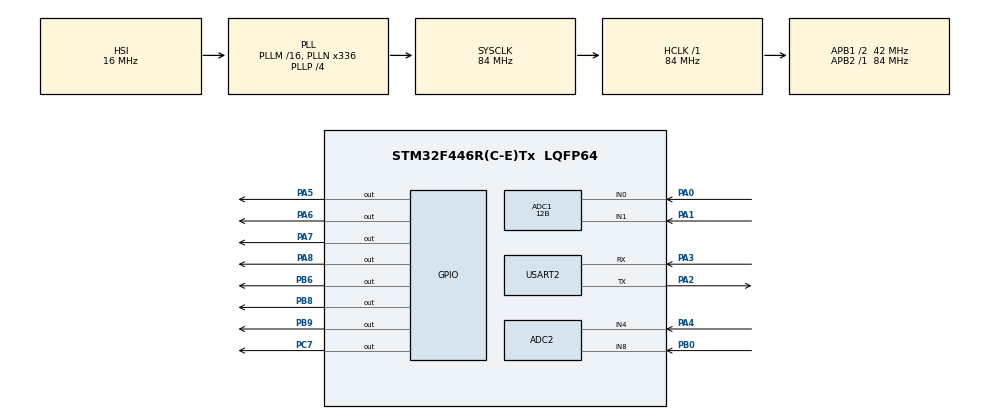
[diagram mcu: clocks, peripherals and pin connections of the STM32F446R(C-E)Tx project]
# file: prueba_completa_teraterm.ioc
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ADC1.Channel-0\#ChannelRegularConversion=ADC_CHANNEL_0
ADC1.Channel-2\#ChannelRegularConversion=ADC_CHANNEL_1
ADC1.ClockPrescaler=ADC_CLOCK_SYNC_PCLK_DIV4
ADC1.ContinuousConvMode=ENABLE
ADC1.DMAContinuousRequests=DISABLE
ADC1.DataAlign=ADC_DATAALIGN_RIGHT
ADC1.DiscontinuousConvMode=DISABLE
ADC1.EOCSelection=ADC_EOC_SINGLE_CONV
ADC1.EnableAnalogWatchDog=false
ADC1.ExternalTrigConv=ADC_SOFTWARE_START
ADC1.ExternalTrigConvEdge=ADC_EXTERNALTRIGCONVEDGE_NONE
ADC1.InjNumberOfConversion=0
ADC1.NbrOfConversion=2
ADC1.NbrOfConversionFlag=1
ADC1.Rank-0\#ChannelRegularConversion=1
ADC1.Rank-2\#ChannelRegularConversion=2
ADC1.Resolution=ADC_RESOLUTION_12B
ADC1.SamplingTime-0\#ChannelRegularConversion=ADC_SAMPLETIME_84CYCLES
ADC1.SamplingTime-2\#ChannelRegularConversion=ADC_SAMPLETIME_84CYCLES
ADC1.ScanConvMode=ENABLE
ADC1.master=1
ADC2.Channel-0\#ChannelRegularConversion=ADC_CHANNEL_4
ADC2.Channel-1\#ChannelRegularConversion=ADC_CHANNEL_8
ADC2.ContinuousConvMode=ENABLE
ADC2.NbrOfConversion=2
ADC2.NbrOfConversionFlag=1
ADC2.Rank-0\#ChannelRegularConversion=1
ADC2.Rank-1\#ChannelRegularConversion=2
ADC2.SamplingTime-0\#ChannelRegularConversion=ADC_SAMPLETIME_84CYCLES
ADC2.SamplingTime-1\#ChannelRegularConversion=ADC_SAMPLETIME_84CYCLES
Mcu.Family=STM32F4
Mcu.Name=STM32F446R(C-E)Tx
Mcu.Package=LQFP64
NVIC.PriorityGroup=NVIC_PRIORITYGROUP_0
NVIC.TIM2_IRQn=true\:0\:0\:false\:false\:true\:true
PA0-WKUP.Signal=ADCx_IN0
PA1.Signal=ADCx_IN1
PA13.GPIO_Label=TMS
PA13.Mode=Serial_Wire
PA13.Signal=SYS_JTMS-SWDIO
PA14.GPIO_Label=TCK
PA14.Mode=Serial_Wire
PA14.Signal=SYS_JTCK-SWCLK
PA2.Mode=Asynchronous
PA2.Signal=USART2_TX
PA3.Mode=Asynchronous
PA3.Signal=USART2_RX
PA4.Signal=ADCx_IN4
PA5.Signal=GPIO_Output
PA6.Signal=GPIO_Output
PA7.Signal=GPIO_Output
PA8.Signal=GPIO_Output
PB0.Signal=ADCx_IN8
PB3.GPIO_Label=SWO
PB3.Signal=SYS_JTDO-SWO
PB6.Signal=GPIO_Output
PB8.Signal=GPIO_Output
PB9.Signal=GPIO_Output
PC14-OSC32_IN.Mode=LSE-External-Oscillator
PC14-OSC32_IN.Signal=RCC_OSC32_IN
PC15-OSC32_OUT.Mode=LSE-External-Oscillator
PC15-OSC32_OUT.Signal=RCC_OSC32_OUT
PC7.Signal=GPIO_Output
PH0-OSC_IN.Mode=HSE-External-Oscillator
PH0-OSC_IN.Signal=RCC_OSC_IN
PH1-OSC_OUT.Mode=HSE-External-Oscillator
PH1-OSC_OUT.Signal=RCC_OSC_OUT
ProjectManager.HeapSize=0x200
ProjectManager.StackSize=0x400
ProjectManager.TargetToolchain=TrueSTUDIO
RCC.48MHZClocksFreq_Value=84000000
RCC.AHBFreq_Value=84000000
RCC.APB1CLKDivider=RCC_HCLK_DIV2
RCC.APB1Freq_Value=42000000
RCC.APB1TimFreq_Value=84000000
RCC.APB2Freq_Value=84000000
RCC.APB2TimFreq_Value=84000000
RCC.CortexFreq_Value=84000000
RCC.FLatency-AdvancedSettings=FLASH_LATENCY_2
RCC.HCLKFreq_Value=84000000
RCC.HSE_VALUE=8000000
RCC.HSI_VALUE=16000000
RCC.PLLN=336
RCC.PLLP=RCC_PLLP_DIV4
RCC.SYSCLKFreq_VALUE=84000000
RCC.SYSCLKSource=RCC_SYSCLKSOURCE_PLLCLK
RCC.USBFreq_Value=168000000
RCC.VCOOutputFreq_Value=336000000
SH.ADCx_IN0.0=ADC1_IN0,IN0
SH.ADCx_IN1.0=ADC1_IN1,IN1
SH.ADCx_IN4.0=ADC2_IN4,IN4
SH.ADCx_IN8.0=ADC2_IN8,IN8
USART2.VirtualMode=VM_ASYNC
VP_TIM2_VS_ClockSourceINT.Mode=Internal
board=NUCLEO-F446RE

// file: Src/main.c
/**
  ******************************************************************************
  * @file           : main.c
  * @brief          : Main program body
  ******************************************************************************
  ** This notice applies to any and all portions of this file
  * that are not between comment pairs USER CODE BEGIN and
  * USER CODE END. Other portions of this file, whether
  * inserted by the user or by software development tools
  * are owned by their respective copyright owners.
  *
  * COPYRIGHT(c) 2018 STMicroelectronics
  *
  * Redistribution and use in source and binary forms, with or without modification,
  * are permitted provided that the following conditions are met:
  *   1. Redistributions of source code must retain the above copyright notice,
  *      this list of conditions and the following disclaimer.
  *   2. Redistributions in binary form must reproduce the above copyright notice,
  *      this list of conditions and the following disclaimer in the documentation
  *      and/or other materials provided with the distribution.
  *   3. Neither the name of STMicroelectronics nor the names of its contributors
  *      may be used to endorse or promote products derived from this software
  *      without specific prior written permission.
  *
  * THIS SOFTWARE IS PROVIDED BY THE COPYRIGHT HOLDERS AND CONTRIBUTORS "AS IS"
  * AND ANY EXPRESS OR IMPLIED WARRANTIES, INCLUDING, BUT NOT LIMITED TO, THE
  * IMPLIED WARRANTIES OF MERCHANTABILITY AND FITNESS FOR A PARTICULAR PURPOSE ARE
  * DISCLAIMED. IN NO EVENT SHALL THE COPYRIGHT HOLDER OR CONTRIBUTORS BE LIABLE
  * FOR ANY DIRECT, INDIRECT, INCIDENTAL, SPECIAL, EXEMPLARY, OR CONSEQUENTIAL
  * DAMAGES (INCLUDING, BUT NOT LIMITED TO, PROCUREMENT OF SUBSTITUTE GOODS OR
  * SERVICES; LOSS OF USE, DATA, OR PROFITS; OR BUSINESS INTERRUPTION) HOWEVER
  * CAUSED AND ON ANY THEORY OF LIABILITY, WHETHER IN CONTRACT, STRICT LIABILITY,
  * OR TORT (INCLUDING NEGLIGENCE OR OTHERWISE) ARISING IN ANY WAY OUT OF THE USE
  * OF THIS SOFTWARE, EVEN IF ADVISED OF THE POSSIBILITY OF SUCH DAMAGE.
  *
  ******************************************************************************
  */
#include "main.h"
#include "stm32f4xx_hal.h"

/* USER CODE BEGIN Includes */
#include <stdio.h>
#include <math.h>
/* USER CODE END Includes */

ADC_HandleTypeDef hadc1;
ADC_HandleTypeDef hadc2;

TIM_HandleTypeDef htim2;

UART_HandleTypeDef huart2;

/* USER CODE BEGIN PV */
/* Private variables ---------------------------------------------------------*/
uint16_t adc1_value;
uint16_t adc2_value;
uint8_t toggle_adc1=0;
uint8_t toggle_adc2=0;
float voltage;
char res[6];
/* USER CODE END PV */

void SystemClock_Config(void);
static void MX_GPIO_Init(void);
static void MX_ADC1_Init(void);
static void MX_ADC2_Init(void);
static void MX_TIM2_Init(void);
static void MX_USART2_UART_Init(void);
void ftoa(float n, char *str, int len);

/* USER CODE BEGIN PFP */
/* Private function prototypes -----------------------------------------------*/

/* USER CODE END PFP */

int main(void)
{

  /* MCU Configuration----------------------------------------------------------*/

  /* Reset of all peripherals, Initializes the Flash interface and the Systick. */
  HAL_Init();

  /* Configure the system clock */
  SystemClock_Config();

  /* Initialize all configured peripherals */
  MX_GPIO_Init();
  MX_ADC1_Init();
  MX_ADC2_Init();
  MX_TIM2_Init();
  MX_USART2_UART_Init();

  /* Infinite loop */
  while (1)
  {

  /* USER CODE BEGIN 3 */
	  HAL_ADC_Start(&hadc1);
	  	  HAL_ADC_PollForConversion(&hadc1, 100);
	  	  if(!toggle_adc1)
	  	  {
	  		  toggle_adc1=1;
	  		  adc1_value=HAL_ADC_GetValue(&hadc1);
	  		  voltage=3.3000*adc1_value/4096.0000;
	  		  ftoa(voltage, res, 3);
	  		  printf("A%s\r\n", res);
	  	  }
	  	  else
	  	  {
	  		  toggle_adc1=0;
	  		  adc1_value=HAL_ADC_GetValue(&hadc1);
	  		  voltage=3.3000*adc1_value/4096.0000;
	  		  ftoa(voltage, res, 3);
	  		  printf("B%s\r\n", res);
	  	  }
	  	HAL_ADC_Start(&hadc2);
	  	  HAL_ADC_PollForConversion(&hadc2, 100);
	  	  if(!toggle_adc2)
	  	  	  {
	  	  		  toggle_adc2=1;
	  	  		  adc2_value=HAL_ADC_GetValue(&hadc2);
	  	  		  voltage=3.3000*adc2_value/4096.0000;
	  	  		  ftoa(voltage, res, 3);
	  	  		  printf("C%s\r\n", res);
	  	  	  }
	  	  	  else
	  	  	  {
	  	  		  toggle_adc2=0;
	  	  		  adc2_value=HAL_ADC_GetValue(&hadc2);
	  	  		  voltage=3.3000*adc2_value/4096.0000;
	  	  		  ftoa(voltage, res, 3);
	  	  		  printf("D%s\r\n", res);
	  	  	  }
	    }
  /* USER CODE END 3 */

}

void SystemClock_Config(void)
{

  RCC_OscInitTypeDef RCC_OscInitStruct;
  RCC_ClkInitTypeDef RCC_ClkInitStruct;

    /**Configure the main internal regulator output voltage
    */
  __HAL_RCC_PWR_CLK_ENABLE();

  __HAL_PWR_VOLTAGESCALING_CONFIG(PWR_REGULATOR_VOLTAGE_SCALE3);

    /**Initializes the CPU, AHB and APB busses clocks
    */
  RCC_OscInitStruct.OscillatorType = RCC_OSCILLATORTYPE_HSI;
  RCC_OscInitStruct.HSIState = RCC_HSI_ON;
  RCC_OscInitStruct.HSICalibrationValue = 16;
  RCC_OscInitStruct.PLL.PLLState = RCC_PLL_ON;
  RCC_OscInitStruct.PLL.PLLSource = RCC_PLLSOURCE_HSI;
  RCC_OscInitStruct.PLL.PLLM = 16;
  RCC_OscInitStruct.PLL.PLLN = 336;
  RCC_OscInitStruct.PLL.PLLP = RCC_PLLP_DIV4;
  RCC_OscInitStruct.PLL.PLLQ = 2;
  RCC_OscInitStruct.PLL.PLLR = 2;
  if (HAL_RCC_OscConfig(&RCC_OscInitStruct) != HAL_OK)
  {
    _Error_Handler(__FILE__, __LINE__);
  }

    /**Initializes the CPU, AHB and APB busses clocks
    */
  RCC_ClkInitStruct.ClockType = RCC_CLOCKTYPE_HCLK|RCC_CLOCKTYPE_SYSCLK
                              |RCC_CLOCKTYPE_PCLK1|RCC_CLOCKTYPE_PCLK2;
  RCC_ClkInitStruct.SYSCLKSource = RCC_SYSCLKSOURCE_PLLCLK;
  RCC_ClkInitStruct.AHBCLKDivider = RCC_SYSCLK_DIV1;
  RCC_ClkInitStruct.APB1CLKDivider = RCC_HCLK_DIV2;
  RCC_ClkInitStruct.APB2CLKDivider = RCC_HCLK_DIV1;

  if (HAL_RCC_ClockConfig(&RCC_ClkInitStruct, FLASH_LATENCY_2) != HAL_OK)
  {
    _Error_Handler(__FILE__, __LINE__);
  }

    /**Configure the Systick interrupt time
    */
  HAL_SYSTICK_Config(HAL_RCC_GetHCLKFreq()/1000);

    /**Configure the Systick
    */
  HAL_SYSTICK_CLKSourceConfig(SYSTICK_CLKSOURCE_HCLK);

  /* SysTick_IRQn interrupt configuration */
  HAL_NVIC_SetPriority(SysTick_IRQn, 0, 0);
}

/* ADC1 init function */
static void MX_ADC1_Init(void)
{

  ADC_ChannelConfTypeDef sConfig;

    /**Configure the global features of the ADC (Clock, Resolution, Data Alignment and number of conversion)
    */
  hadc1.Instance = ADC1;
  hadc1.Init.ClockPrescaler = ADC_CLOCK_SYNC_PCLK_DIV4;
  hadc1.Init.Resolution = ADC_RESOLUTION_12B;
  hadc1.Init.ScanConvMode = ENABLE;
  hadc1.Init.ContinuousConvMode = ENABLE;
  hadc1.Init.DiscontinuousConvMode = DISABLE;
  hadc1.Init.ExternalTrigConvEdge = ADC_EXTERNALTRIGCONVEDGE_NONE;
  hadc1.Init.ExternalTrigConv = ADC_SOFTWARE_START;
  hadc1.Init.DataAlign = ADC_DATAALIGN_RIGHT;
  hadc1.Init.NbrOfConversion = 2;
  hadc1.Init.DMAContinuousRequests = DISABLE;
  hadc1.Init.EOCSelection = ADC_EOC_SINGLE_CONV;
  if (HAL_ADC_Init(&hadc1) != HAL_OK)
  {
    _Error_Handler(__FILE__, __LINE__);
  }

    /**Configure for the selected ADC regular channel its corresponding rank in the sequencer and its sample time.
    */
  sConfig.Channel = ADC_CHANNEL_0;
  sConfig.Rank = 1;
  sConfig.SamplingTime = ADC_SAMPLETIME_84CYCLES;
  if (HAL_ADC_ConfigChannel(&hadc1, &sConfig) != HAL_OK)
  {
    _Error_Handler(__FILE__, __LINE__);
  }

    /**Configure for the selected ADC regular channel its corresponding rank in the sequencer and its sample time.
    */
  sConfig.Channel = ADC_CHANNEL_1;
  sConfig.Rank = 2;
  if (HAL_ADC_ConfigChannel(&hadc1, &sConfig) != HAL_OK)
  {
    _Error_Handler(__FILE__, __LINE__);
  }

}

/* ADC2 init function */
static void MX_ADC2_Init(void)
{

  ADC_ChannelConfTypeDef sConfig;

    /**Configure the global features of the ADC (Clock, Resolution, Data Alignment and number of conversion)
    */
  hadc2.Instance = ADC2;
  hadc2.Init.ClockPrescaler = ADC_CLOCK_SYNC_PCLK_DIV4;
  hadc2.Init.Resolution = ADC_RESOLUTION_12B;
  hadc2.Init.ScanConvMode = ENABLE;
  hadc2.Init.ContinuousConvMode = ENABLE;
  hadc2.Init.DiscontinuousConvMode = DISABLE;
  hadc2.Init.ExternalTrigConvEdge = ADC_EXTERNALTRIGCONVEDGE_NONE;
  hadc2.Init.ExternalTrigConv = ADC_SOFTWARE_START;
  hadc2.Init.DataAlign = ADC_DATAALIGN_RIGHT;
  hadc2.Init.NbrOfConversion = 2;
  hadc2.Init.DMAContinuousRequests = DISABLE;
  hadc2.Init.EOCSelection = ADC_EOC_SINGLE_CONV;
  if (HAL_ADC_Init(&hadc2) != HAL_OK)
  {
    _Error_Handler(__FILE__, __LINE__);
  }

    /**Configure for the selected ADC regular channel its corresponding rank in the sequencer and its sample time.
    */
  sConfig.Channel = ADC_CHANNEL_4;
  sConfig.Rank = 1;
  sConfig.SamplingTime = ADC_SAMPLETIME_84CYCLES;
  if (HAL_ADC_ConfigChannel(&hadc2, &sConfig) != HAL_OK)
  {
    _Error_Handler(__FILE__, __LINE__);
  }

    /**Configure for the selected ADC regular channel its corresponding rank in the sequencer and its sample time.
    */
  sConfig.Channel = ADC_CHANNEL_8;
  sConfig.Rank = 2;
  if (HAL_ADC_ConfigChannel(&hadc2, &sConfig) != HAL_OK)
  {
    _Error_Handler(__FILE__, __LINE__);
  }

}

/* TIM2 init function */
static void MX_TIM2_Init(void)
{

  TIM_ClockConfigTypeDef sClockSourceConfig;
  TIM_MasterConfigTypeDef sMasterConfig;

  htim2.Instance = TIM2;
  htim2.Init.Prescaler = 0;
  htim2.Init.CounterMode = TIM_COUNTERMODE_UP;
  htim2.Init.Period = 0;
  htim2.Init.ClockDivision = TIM_CLOCKDIVISION_DIV1;
  if (HAL_TIM_Base_Init(&htim2) != HAL_OK)
  {
    _Error_Handler(__FILE__, __LINE__);
  }

  sClockSourceConfig.ClockSource = TIM_CLOCKSOURCE_INTERNAL;
  if (HAL_TIM_ConfigClockSource(&htim2, &sClockSourceConfig) != HAL_OK)
  {
    _Error_Handler(__FILE__, __LINE__);
  }

  sMasterConfig.MasterOutputTrigger = TIM_TRGO_RESET;
  sMasterConfig.MasterSlaveMode = TIM_MASTERSLAVEMODE_DISABLE;
  if (HAL_TIMEx_MasterConfigSynchronization(&htim2, &sMasterConfig) != HAL_OK)
  {
    _Error_Handler(__FILE__, __LINE__);
  }

}

/* USART2 init function */
static void MX_USART2_UART_Init(void)
{

  huart2.Instance = USART2;
  huart2.Init.BaudRate = 115200;
  huart2.Init.WordLength = UART_WORDLENGTH_8B;
  huart2.Init.StopBits = UART_STOPBITS_1;
  huart2.Init.Parity = UART_PARITY_NONE;
  huart2.Init.Mode = UART_MODE_TX_RX;
  huart2.Init.HwFlowCtl = UART_HWCONTROL_NONE;
  huart2.Init.OverSampling = UART_OVERSAMPLING_16;
  if (HAL_UART_Init(&huart2) != HAL_OK)
  {
    _Error_Handler(__FILE__, __LINE__);
  }

}

/** Configure pins as
        * Analog
        * Input
        * Output
        * EVENT_OUT
        * EXTI
*/
static void MX_GPIO_Init(void)
{

  GPIO_InitTypeDef GPIO_InitStruct;

  /* GPIO Ports Clock Enable */
  __HAL_RCC_GPIOC_CLK_ENABLE();
  __HAL_RCC_GPIOH_CLK_ENABLE();
  __HAL_RCC_GPIOA_CLK_ENABLE();
  __HAL_RCC_GPIOB_CLK_ENABLE();

  /*Configure GPIO pin Output Level */
  HAL_GPIO_WritePin(GPIOA, GPIO_PIN_5|GPIO_PIN_6|GPIO_PIN_7|GPIO_PIN_8, GPIO_PIN_RESET);

  /*Configure GPIO pin Output Level */
  HAL_GPIO_WritePin(GPIOC, GPIO_PIN_7, GPIO_PIN_RESET);

  /*Configure GPIO pin Output Level */
  HAL_GPIO_WritePin(GPIOB, GPIO_PIN_6|GPIO_PIN_8|GPIO_PIN_9, GPIO_PIN_RESET);

  /*Configure GPIO pins : PA5 PA6 PA7 PA8 */
  GPIO_InitStruct.Pin = GPIO_PIN_5|GPIO_PIN_6|GPIO_PIN_7|GPIO_PIN_8;
  GPIO_InitStruct.Mode = GPIO_MODE_OUTPUT_PP;
  GPIO_InitStruct.Pull = GPIO_NOPULL;
  GPIO_InitStruct.Speed = GPIO_SPEED_FREQ_LOW;
  HAL_GPIO_Init(GPIOA, &GPIO_InitStruct);

  /*Configure GPIO pin : PC7 */
  GPIO_InitStruct.Pin = GPIO_PIN_7;
  GPIO_InitStruct.Mode = GPIO_MODE_OUTPUT_PP;
  GPIO_InitStruct.Pull = GPIO_NOPULL;
  GPIO_InitStruct.Speed = GPIO_SPEED_FREQ_LOW;
  HAL_GPIO_Init(GPIOC, &GPIO_InitStruct);

  /*Configure GPIO pins : PB6 PB8 PB9 */
  GPIO_InitStruct.Pin = GPIO_PIN_6|GPIO_PIN_8|GPIO_PIN_9;
  GPIO_InitStruct.Mode = GPIO_MODE_OUTPUT_PP;
  GPIO_InitStruct.Pull = GPIO_NOPULL;
  GPIO_InitStruct.Speed = GPIO_SPEED_FREQ_LOW;
  HAL_GPIO_Init(GPIOB, &GPIO_InitStruct);

}

/* USER CODE BEGIN 4 */
int __io_putchar(int ch)
{
 uint8_t c[1];
 c[0] = ch & 0x00FF;
 HAL_UART_Transmit(&huart2, &*c, 1, 10);
 return ch;
}

int _write(int file,char *ptr, int len)
{
 int DataIdx;
 for(DataIdx= 0; DataIdx< len; DataIdx++)
   {
    __io_putchar(*ptr++);
   }
return len;
}
void reverse(char *str, int len)
{
	int i=0, j=len-1, temp;
	while(i<j)
	{
		temp=str[i];
		str[i]=str[j];
		str[j]=temp;
		i++,j--;
	}
}
int intToStr(int x, char str[], int d)
{
	int i = 0;
	while(x)
	{
		str[i++]=(x%10) + '0';
		x=x/10;
	}

	while(i<d)
		str[i++] = '0';

	reverse(str,i);
	str[i] = '\0';
	return i;
}

void ftoa(float n, char *res, int afterpoint)
{
	int ipart=(int)n;
	int i=1;

	float fpart= n - (float)ipart;
	if (ipart==0)
	{
		res[0]= '0';
	}
	else
	{
	i = intToStr(ipart, res, 0);
	}

	if(afterpoint != 0)
	{
		res[i] = '.';
		fpart = fpart * pow(10, afterpoint);

		intToStr((int)fpart, res + i + 1, afterpoint);
	}
}
/* USER CODE END 4 */

void _Error_Handler(char *file, int line)
{
  while(1)
  {
  }
}

/************************ (C) COPYRIGHT STMicroelectronics *****END OF FILE****/
